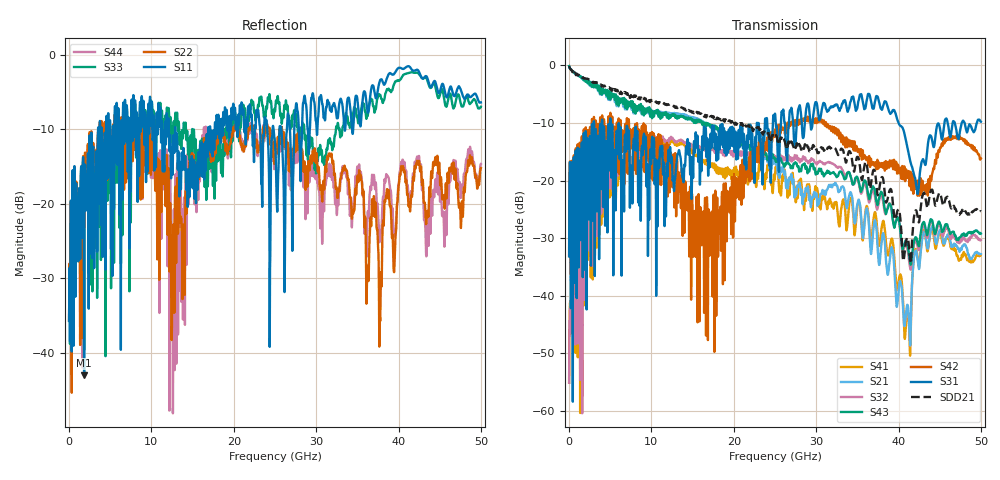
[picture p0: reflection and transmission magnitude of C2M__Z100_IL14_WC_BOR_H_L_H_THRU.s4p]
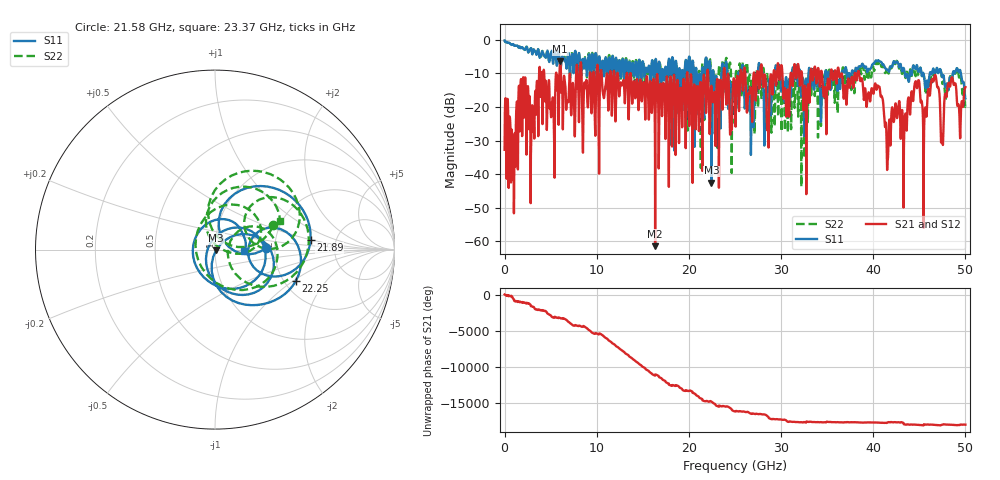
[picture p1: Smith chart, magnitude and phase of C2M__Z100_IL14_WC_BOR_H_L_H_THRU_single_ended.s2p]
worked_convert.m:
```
% Load the 4-port single-ended S-parameter file
s4p = sparameters('C2M__Z100_IL14_WC_BOR_H_L_H_THRU.s4p');

% Extract S-parameter matrix and frequencies
S = s4p.Parameters;     % 4x4xN
freq = s4p.Frequencies; % Nx1
Z0 = s4p.Impedance;

% Define the single-ended to differential transformation matrix
% Differential mode voltage = (V+ - V-) / sqrt(2)
% Common mode voltage = (V+ + V-) / sqrt(2)
T = 1/sqrt(2) * [ 1 -1  0  0;
                  0  0  1 -1;
                  1  1  0  0;
                  0  0  1  1 ];

% Apply the mixed-mode transformation for each frequency point
Nf = length(freq);
Smm = zeros(4,4,Nf);
for k = 1:Nf
    Smm(:,:,k) = T * S(:,:,k) * inv(T);
end

% Extract only the differential-to-differential (Sdd) 2x2 submatrix
Sdd = Smm(1:2,1:2,:);

% Create new 2-port S-parameter object
s2p = sparameters(Sdd, freq, Z0);

% Save as Touchstone .s2p file
rfwrite(s2p, 'C2M__Z100_IL14_WC_BOR_H_L_H_THRU_single_ended.s2p');
```
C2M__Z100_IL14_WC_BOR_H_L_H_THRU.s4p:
# GHz S MA R 50
! S-Parameters data
! Freq  magS11  angS11  magS12  angS12  magS13  angS13  magS14  angS14
!  magS21  angS21  magS22  angS22  magS23  angS23  magS24  angS24
!  magS31  angS31  magS32  angS32  magS33  angS33  magS34  angS34
!  magS41  angS41  magS42  angS42  magS43  angS43  magS44  angS44
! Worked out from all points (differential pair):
!   5000 points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, 10 MHz to 50 GHz, reference 50 ohm
!   strongest paths, dB at 10 MHz, 12.51 GHz, 25.01 GHz, 37.51 GHz, 50 GHz:
!     S31: -33.1, -17.1, -8.4, -5.6, -9.8
!     S42: -33.1, -16.5, -11.6, -17.6, -16.1
!     S43: -0.1, -8.7, -16.3, -23.9, -29.2
!     S32: -55.1, -12.6, -16.1, -24.4, -30.3
!     S21: -0.1, -8.4, -16.6, -32.7, -32.8
!     S41: -55.1, -12.9, -19.0, -30.3, -32.9
!   taken as a pair (ports 3,1 in; 4,2 out), SDD21 dB: -0.1, -6.9, -11.8, -22.5, -25.4
!   lowest |S11| = -43.0 dB at 1.83 GHz (marker M1), VSWR 1.01, Z = 50.4 - j0.585 ohm
!   |S11| at or under -10 dB: start of sweep to 3.523 GHz; 12.12 GHz to 12.86 GHz (734.9 MHz wide, 5.88 % of centre); 12.91 GHz to 16.89 GHz (3.985 GHz wide, 26.7 % of centre)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
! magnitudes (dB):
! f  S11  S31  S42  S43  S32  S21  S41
! 10 MHz  -35.7  -33.1  -33.1  -0.1  -55.1  -0.1  -55.1
! 1.83 GHz  -43.0  -12.9  -12.1  -2.4  -37.3  -2.4  -37.7
! 50 GHz  -6.4  -9.8  -16.1  -29.2  -30.3  -32.8  -32.9
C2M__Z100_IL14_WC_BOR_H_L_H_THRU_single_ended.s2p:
# GHz S RI R 50
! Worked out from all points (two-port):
!   5000 points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, 10 MHz to 50 GHz, reference 50 ohm
!   highest |S21| = -6.38 dB at 6.05 GHz (marker M1); lowest = -61.4 dB at 16.34 GHz (marker M2)
!   |S21| within 3 dB of the highest: 29.92 GHz to 30.13 GHz (212.2 MHz wide, 0.707 % of centre); 31.73 GHz to 31.95 GHz (219.8 MHz wide, 0.69 % of centre)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
!   lowest |S11| = -42.6 dB at 22.45 GHz (marker M3), VSWR 1.01, Z = 50.6 - j0.462 ohm
!   |S11| at or under -10 dB: 25.92 GHz to 27.49 GHz (1.565 GHz wide, 5.86 % of centre); 28.03 GHz to 29.32 GHz (1.285 GHz wide, 4.48 % of centre); 29.9 GHz to 31.18 GHz (1.276 GHz wide, 4.18 % of centre)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
!   |S22| runs from -43.8 to -0.2 dB; largest |S21 - S12| = 3.7e-07
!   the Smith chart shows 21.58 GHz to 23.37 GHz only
!   S11 on the Smith chart (normalised r, x): 21.58 GHz: 1.80, +0.04; 21.89 GHz: 3.22, +0.49; 22.25 GHz: 2.31, -1.05; 23.37 GHz: 1.39, -0.02
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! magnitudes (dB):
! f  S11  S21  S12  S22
! 10 MHz  -0.2  -32.7  -32.7  -0.2
! 6.05 GHz  -8.6  -6.4  -6.4  -8.2
! 16.34 GHz  -6.5  -61.4  -61.4  -9.2
! 21.58 GHz  -10.9  -11.4  -11.4  -9.1
! 21.89 GHz  -5.4  -20.0  -20.0  -5.5
! 22.25 GHz  -6.3  -27.7  -27.7  -5.5
! 22.45 GHz  -42.6  -13.8  -13.8  -20.1
! 23.37 GHz  -15.7  -13.1  -13.1  -8.1
! 25.01 GHz  -19.1  -16.3  -16.3  -17.1
! 41.66 GHz  -9.2  -29.0  -29.0  -10.1
! 50 GHz  -17.5  -14.1  -14.1  -20.0
